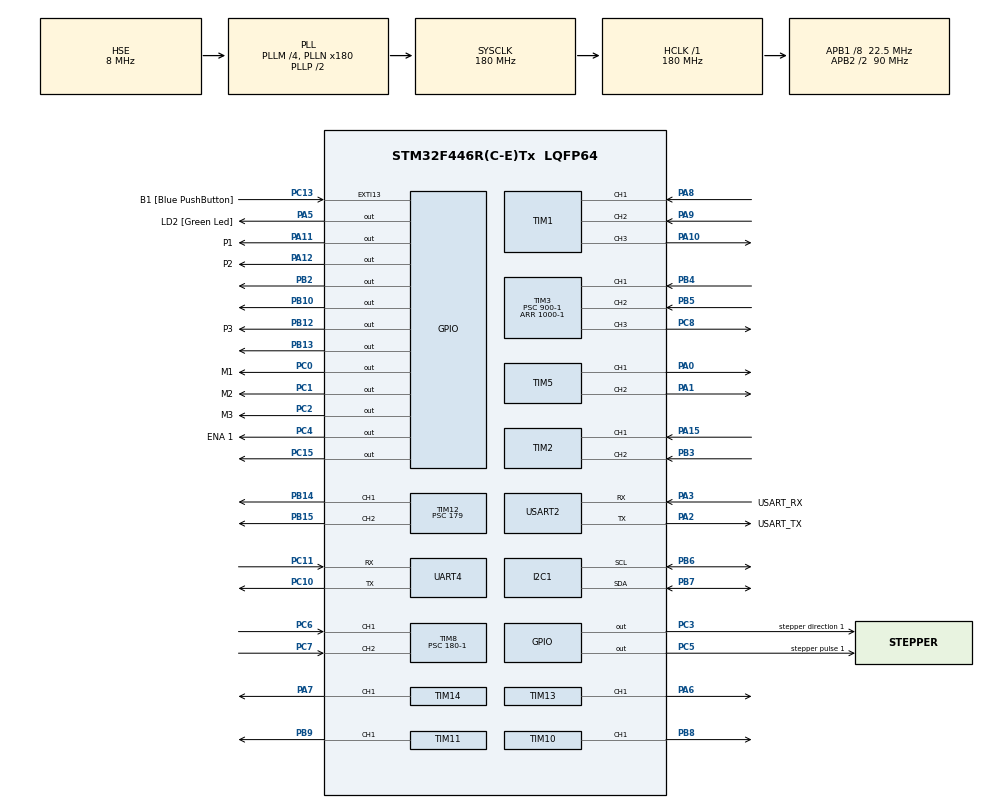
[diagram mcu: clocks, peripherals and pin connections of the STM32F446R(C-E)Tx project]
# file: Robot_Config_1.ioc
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Dma.Request0=UART4_RX
Dma.UART4_RX.0.Direction=DMA_PERIPH_TO_MEMORY
Dma.UART4_RX.0.FIFOMode=DMA_FIFOMODE_DISABLE
Dma.UART4_RX.0.Instance=DMA1_Stream2
Dma.UART4_RX.0.MemDataAlignment=DMA_MDATAALIGN_BYTE
Dma.UART4_RX.0.MemInc=DMA_MINC_ENABLE
Dma.UART4_RX.0.Mode=DMA_CIRCULAR
Dma.UART4_RX.0.PeriphDataAlignment=DMA_PDATAALIGN_BYTE
Dma.UART4_RX.0.PeriphInc=DMA_PINC_DISABLE
Dma.UART4_RX.0.Priority=DMA_PRIORITY_LOW
Mcu.Family=STM32F4
Mcu.Name=STM32F446R(C-E)Tx
Mcu.Package=LQFP64
NVIC.DMA1_Stream2_IRQn=true\:0\:0\:false\:false\:true\:false\:true\:true
NVIC.PriorityGroup=NVIC_PRIORITYGROUP_0
NVIC.UART4_IRQn=true\:0\:0\:false\:false\:true\:true\:true\:true
PA0-WKUP.Signal=S_TIM5_CH1
PA1.Signal=S_TIM5_CH2
PA10.Signal=S_TIM1_CH3
PA11.GPIO_Label=P1
PA11.Signal=GPIO_Output
PA12.GPIO_Label=P2
PA12.Signal=GPIO_Output
PA13.GPIO_Label=TMS
PA13.Mode=Serial_Wire
PA13.Signal=SYS_JTMS-SWDIO
PA14.GPIO_Label=TCK
PA14.Mode=Serial_Wire
PA14.Signal=SYS_JTCK-SWCLK
PA15.GPIO_PuPd=GPIO_PULLUP
PA15.Signal=S_TIM2_CH1_ETR
PA2.GPIO_Label=USART_TX
PA2.Mode=Asynchronous
PA2.Signal=USART2_TX
PA3.GPIO_Label=USART_RX
PA3.Mode=Asynchronous
PA3.Signal=USART2_RX
PA5.GPIO_Label=LD2 [Green Led]
PA5.Signal=GPIO_Output
PA6.Signal=S_TIM13_CH1
PA7.Signal=S_TIM14_CH1
PA8.GPIO_PuPd=GPIO_PULLUP
PA8.Signal=S_TIM1_CH1
PA9.GPIO_PuPd=GPIO_PULLUP
PA9.Signal=S_TIM1_CH2
PB10.Signal=GPIO_Output
PB12.GPIO_Label=P3
PB12.Signal=GPIO_Output
PB13.Signal=GPIO_Output
PB14.Signal=S_TIM12_CH1
PB15.Signal=S_TIM12_CH2
PB2.Signal=GPIO_Output
PB3.GPIO_PuPd=GPIO_PULLUP
PB3.Signal=S_TIM2_CH2
PB4.GPIO_PuPd=GPIO_PULLUP
PB4.Signal=S_TIM3_CH1
PB5.GPIO_PuPd=GPIO_PULLUP
PB5.Signal=S_TIM3_CH2
PB6.Mode=I2C
PB6.Signal=I2C1_SCL
PB7.Mode=I2C
PB7.Signal=I2C1_SDA
PB8.Signal=S_TIM10_CH1
PB9.Signal=S_TIM11_CH1
PC0.GPIO_Label=M1
PC0.Signal=GPIO_Output
PC1.GPIO_Label=M2
PC1.Signal=GPIO_Output
PC10.Mode=Asynchronous
PC10.Signal=UART4_TX
PC11.Mode=Asynchronous
PC11.Signal=UART4_RX
PC13.GPIO_Label=B1 [Blue PushButton]
PC13.GPIO_ModeDefaultEXTI=GPIO_MODE_IT_FALLING
PC13.Signal=GPXTI13
PC14-OSC32_IN.Signal=RCC_OSC32_IN
PC15-OSC32_OUT.Signal=GPIO_Output
PC2.GPIO_Label=M3
PC2.Signal=GPIO_Output
PC3.GPIO_Label=stepper direction 1
PC3.Signal=GPIO_Output
PC4.GPIO_Label=ENA 1
PC4.Signal=GPIO_Output
PC5.GPIO_Label=stepper pulse 1
PC5.Signal=GPIO_Output
PC6.Signal=S_TIM8_CH1
PC7.Signal=S_TIM8_CH2
PC8.Signal=S_TIM3_CH3
PH0-OSC_IN.Mode=HSE-External-Oscillator
PH0-OSC_IN.Signal=RCC_OSC_IN
PH1-OSC_OUT.Mode=HSE-External-Oscillator
PH1-OSC_OUT.Signal=RCC_OSC_OUT
ProjectManager.HeapSize=0x200
ProjectManager.StackSize=0x400
ProjectManager.TargetToolchain=STM32CubeIDE
RCC.48MHZClocksFreq_Value=84000000
RCC.AHBFreq_Value=180000000
RCC.APB1CLKDivider=RCC_HCLK_DIV8
RCC.APB1Freq_Value=22500000
RCC.APB1TimFreq_Value=45000000
RCC.APB2CLKDivider=RCC_HCLK_DIV2
RCC.APB2Freq_Value=90000000
RCC.APB2TimFreq_Value=180000000
RCC.CortexFreq_Value=180000000
RCC.FLatency-AdvancedSettings=FLASH_LATENCY_5
RCC.HCLKFreq_Value=180000000
RCC.HSE_VALUE=8000000
RCC.HSI_VALUE=16000000
RCC.PLLM=4
RCC.PLLN=180
RCC.PLLSourceVirtual=RCC_PLLSOURCE_HSE
RCC.SYSCLKFreq_VALUE=180000000
RCC.SYSCLKSource=RCC_SYSCLKSOURCE_PLLCLK
RCC.USBFreq_Value=180000000
RCC.VCOOutputFreq_Value=360000000
SH.S_TIM10_CH1.0=TIM10_CH1,PWM Generation1 CH1
SH.S_TIM11_CH1.0=TIM11_CH1,PWM Generation1 CH1
SH.S_TIM12_CH1.0=TIM12_CH1,PWM Generation1 CH1
SH.S_TIM12_CH2.0=TIM12_CH2,PWM Generation2 CH2
SH.S_TIM13_CH1.0=TIM13_CH1,PWM Generation1 CH1
SH.S_TIM14_CH1.0=TIM14_CH1,Output Compare1 CH1
SH.S_TIM1_CH1.0=TIM1_CH1,Encoder_Interface
SH.S_TIM1_CH2.0=TIM1_CH2,Encoder_Interface
SH.S_TIM1_CH3.0=TIM1_CH3,PWM Generation3 CH3
SH.S_TIM2_CH1_ETR.0=TIM2_CH1,Encoder_Interface
SH.S_TIM2_CH2.0=TIM2_CH2,Encoder_Interface
SH.S_TIM3_CH1.0=TIM3_CH1,Encoder_Interface
SH.S_TIM3_CH2.0=TIM3_CH2,Encoder_Interface
SH.S_TIM3_CH3.0=TIM3_CH3,PWM Generation3 CH3
SH.S_TIM5_CH1.0=TIM5_CH1,PWM Generation1 CH1
SH.S_TIM5_CH2.0=TIM5_CH2,PWM Generation2 CH2
SH.S_TIM8_CH1.0=TIM8_CH1,Encoder_Interface
SH.S_TIM8_CH2.0=TIM8_CH2,Encoder_Interface
TIM1.Channel-PWM\ Generation3\ CH3=TIM_CHANNEL_3
TIM10.Channel=TIM_CHANNEL_1
TIM10.Period=999
TIM10.Prescaler=179
TIM11.Channel=TIM_CHANNEL_1
TIM11.Period=999
TIM11.Prescaler=179
TIM12.Channel-PWM\ Generation1\ CH1=TIM_CHANNEL_1
TIM12.Channel-PWM\ Generation2\ CH2=TIM_CHANNEL_2
TIM12.Period=999
TIM12.Prescaler=179
TIM13.Channel=TIM_CHANNEL_1
TIM13.Period=999
TIM13.Prescaler=179
TIM14.Channel=TIM_CHANNEL_1
TIM3.Channel-PWM\ Generation3\ CH3=TIM_CHANNEL_3
TIM3.Period=1000-1
TIM3.Prescaler=900-1
TIM5.Channel-PWM\ Generation1\ CH1=TIM_CHANNEL_1
TIM5.Channel-PWM\ Generation2\ CH2=TIM_CHANNEL_2
TIM8.Period=1000-1
TIM8.Prescaler=180-1
UART4.VirtualMode=Asynchronous
USART2.VirtualMode=VM_ASYNC
VP_TIM10_VS_ClockSourceINT.Mode=Enable_Timer
VP_TIM11_VS_ClockSourceINT.Mode=Enable_Timer
VP_TIM12_VS_ClockSourceINT.Mode=Internal
VP_TIM13_VS_ClockSourceINT.Mode=Enable_Timer
VP_TIM14_VS_ClockSourceINT.Mode=Enable_Timer
VP_TIM5_VS_ClockSourceINT.Mode=Internal
board=NUCLEO-F446RE

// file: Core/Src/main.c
/* USER CODE BEGIN Header */
/**
 ******************************************************************************
 * @file           : main.c
 * @brief          : Main program body
 ******************************************************************************
 * @attention
 *
 * Copyright (c) 2025 STMicroelectronics.
 * All rights reserved.
 *
 * This software is licensed under terms that can be found in the LICENSE file
 * in the root directory of this software component.
 * If no LICENSE file comes with this software, it is provided AS-IS.
 *
 ******************************************************************************
 */
/* USER CODE END Header */
#include "main.h"

/* USER CODE BEGIN Includes */
#include "bno055_stm32.h"
#include "BNO055.h"

#include "stdio.h"
#include<stdio.h>
#include<inttypes.h>
#include<Math.h>
#include <stdbool.h>
#include <stdlib.h>
#define WHEEL_RADIUS        63.5f    // meters
#define ENCODER_COUNTS_PER_REV  349.9844447f // Encoder counts per wheel revolution
#define L                   0.314f     // Distance from robot center to wheels (meters)
#define STEPS 240

// Global variables
float x_global = 0.0f;      // Global X position (meters)
float y_global = 0.0f;      // Global Y position (meters)
float theta_prev = 0.0f;    // Previous IMU yaw (radians)
int32_t encoder_prev[3] = { 0 }; // Previous encoder counts for wheels 1, 2, 3

#define pi 3.1415926535
/* USER CODE END Includes */

I2C_HandleTypeDef hi2c1;

TIM_HandleTypeDef htim1;
TIM_HandleTypeDef htim2;
TIM_HandleTypeDef htim3;
TIM_HandleTypeDef htim5;
TIM_HandleTypeDef htim8;
TIM_HandleTypeDef htim10;
TIM_HandleTypeDef htim11;
TIM_HandleTypeDef htim12;
TIM_HandleTypeDef htim13;
TIM_HandleTypeDef htim14;

UART_HandleTypeDef huart4;
UART_HandleTypeDef huart2;
DMA_HandleTypeDef hdma_uart4_rx;

/* USER CODE BEGIN PV */
static uint32_t last_step_time = 0;
static uint32_t last_step_time1 = 0;
static int step_state = 0;
static int step_state1 = 0;
static int direction1 = 1;
int step_delay = 1;
int step_delay1 = 1;
static int stepper_running = 0;  // Toggle flag
static int stepper_running1 = 0;  // Toggle flag
static int ebike_running = 0;  // Toggle flag
static int prev_cir = 0;
static int prev_tri = 0;
static int prev_cro = 0;
static int prev_squ = 0;
static int prev_ll1 = 0;
static int prev_rr1 = 0;
static int prev_ll2 = 0;
static int prev_rr2 = 0;
uint32_t target_steps = 0;
uint32_t current_steps = 0;
uint32_t target_steps1 = 0;
uint32_t current_steps1 = 0;
uint32_t drib_speed = 70;

// Encoder counters
int16_t signed_counter1 = 0;
int32_t signed_counter2 = 0;
int16_t signed_counter3 = 0;

//BNO055_Data_t imu_data, imuData;

float yaw = 0, q0 = 0, q1 = 0, q2 = 0, q3 = 0;

// pneumatics
static int pneumatic_open = 0;

//servo
static int servoDir = 50;
/* USER CODE END PV */

void SystemClock_Config(void);
static void MX_GPIO_Init(void);
static void MX_DMA_Init(void);
static void MX_USART2_UART_Init(void);
static void MX_UART4_Init(void);
static void MX_TIM1_Init(void);
static void MX_TIM8_Init(void);
static void MX_I2C1_Init(void);
static void MX_TIM5_Init(void);
static void MX_TIM10_Init(void);
static void MX_TIM11_Init(void);
static void MX_TIM13_Init(void);
static void MX_TIM2_Init(void);
static void MX_TIM3_Init(void);
static void MX_TIM12_Init(void);
static void MX_TIM14_Init(void);

/* USER CODE BEGIN 0 */

//float sinval = sin(radians(60));
uint8_t rxbuff[16];
int slow = 125;
int fast = 850;
int Buff1 = 50;
int Buff2 = -50;
int BuffP = 50;
int BuffN = -50;
int target_wf, target_wrr, target_wrl, w;
int32_t lx, ly, rx, ry, cro, squ, tri, cir, up, down, left, right, ll1, rr1,
		ll2, rr2, rL, rR;
int deadzone = 50;
int l0 = 310;
//float cos30 = (sqrt(3)/2);
float cos30 = 0.5;

float dist1 = 0.0f;
float dist2 = 0.0f;
float dist3 = 0.0f;
float dist4 = 0.0f;

float last_encoder1 = 0.0f;
float last_encoder2 = 0.0f;
float last_encoder3 = 0.0f;

typedef enum {
	STOP, FORWARD, BACKWARD, RIGHT, LEFT, CLOCKWISE, ANTICLOCKWISE
} MovementState;

// Global position and orientation
volatile float x = 0.0f; // mm
volatile float y = 0.0f; // mm
volatile float theta = 0.0f; // radians

// Encoder state
volatile int32_t prev_encoder5 = 0;
volatile int32_t prev_encoder10 = 0;
volatile int32_t prev_encoder11 = 0;

void HAL_UART_RxCpltCallback(UART_HandleTypeDef *huart) {
	HAL_UART_Receive_DMA(&huart4, rxbuff, 16);
}
long map(long x, long in_min, long in_max, long out_min, long out_max) {

	return (x - in_min) * (out_max - out_min) / (in_max - in_min) + out_min;

}

void update_odometry(int16_t encoder1, int32_t encoder2, int16_t encoder3) {
	// Calculate the change in encoder values
	int16_t delta1 = encoder1 - last_encoder1;
	int32_t delta2 = encoder2 - last_encoder2;
	int16_t delta3 = encoder3 - last_encoder3;

	// Calculate distance per encoder count
	float wheel_circumference = 2 * M_PI * WHEEL_RADIUS;
	float distance_per_count = (1.0 / ENCODER_COUNTS_PER_REV)
			* (wheel_circumference / 1000);

	// Compute average delta for forward/backward encoders (without abs)
	float avgDelta12 = (delta1 + delta2) / 2.0;

	// Check movement direction based on joystick
	if (ly >= Buff1 && (lx <= BuffP && lx >= BuffN)) {
		// Forward motion - use the actual delta (with sign) to track position
		x += distance_per_count * avgDelta12;
	} else if (ly <= Buff2 && (lx <= BuffP && lx >= BuffN)) {
		// Backward motion - use the actual delta (with sign) to track position
		x += distance_per_count * avgDelta12; // Will be negative when going backward
	}

	if (lx >= Buff1 && (ly <= BuffP && ly >= BuffN)) {
		dist3 = distance_per_count * abs(delta3);  // Using delta3 for y-axis
		y += dist3;
	} else if (lx <= Buff2 && (ly <= BuffP && ly >= BuffN)) {
		dist4 = distance_per_count * abs(delta3);
		y -= dist4;
	}

	// Update last encoder values for the next iteration
	last_encoder1 = encoder1;
	last_encoder2 = encoder2;
	last_encoder3 = encoder3;
}

void resetEncoders() {
	__HAL_TIM_SET_COUNTER(&htim1, 0);
	__HAL_TIM_SET_COUNTER(&htim2, 0);
	__HAL_TIM_SET_COUNTER(&htim3, 0);
}

void stopEncoders() {
	HAL_TIM_Encoder_Stop(&htim1, TIM_CHANNEL_ALL);
	HAL_TIM_Encoder_Stop(&htim2, TIM_CHANNEL_ALL);
	HAL_TIM_Encoder_Stop(&htim3, TIM_CHANNEL_ALL);
}

void startEncoders() {
	HAL_TIM_Encoder_Start(&htim1, TIM_CHANNEL_ALL);
	HAL_TIM_Encoder_Start(&htim2, TIM_CHANNEL_ALL);
	HAL_TIM_Encoder_Start(&htim3, TIM_CHANNEL_ALL);
}
/* USER CODE END 0 */

int main(void)
{

  /* MCU Configuration--------------------------------------------------------*/

  /* Reset of all peripherals, Initializes the Flash interface and the Systick. */
  HAL_Init();

  /* Configure the system clock */
  SystemClock_Config();

  /* Initialize all configured peripherals */
  MX_GPIO_Init();
  MX_DMA_Init();
  MX_USART2_UART_Init();
  MX_UART4_Init();
  MX_TIM1_Init();
  MX_TIM8_Init();
  MX_I2C1_Init();
  MX_TIM5_Init();
  MX_TIM10_Init();
  MX_TIM11_Init();
  MX_TIM13_Init();
  MX_TIM2_Init();
  MX_TIM3_Init();
  MX_TIM12_Init();
  MX_TIM14_Init();
  /* USER CODE BEGIN 2 */
	HAL_UART_Receive_DMA(&huart4, rxbuff, 16);
	HAL_TIM_Encoder_Start(&htim1, TIM_CHANNEL_ALL);
	HAL_TIM_Encoder_Start(&htim2, TIM_CHANNEL_ALL);
	HAL_TIM_Encoder_Start(&htim3, TIM_CHANNEL_ALL);
	bno055_assignI2C(&hi2c1);
	bno055_setup();
	bno055_setOperationModeNDOF();
	HAL_TIM_PWM_Start(&htim3, TIM_CHANNEL_3);
  /* USER CODE END 2 */

  /* Infinite loop */
	while (1) {

    /* USER CODE BEGIN 3 */
		/* ps5 controller */
		lx = (rxbuff[0] & 0x80) ?
				(int32_t) rxbuff[0] - 256 : (int32_t) rxbuff[0];
		ly = (rxbuff[1] & 0x80) ?
				(int32_t) rxbuff[1] - 256 : (int32_t) rxbuff[1];
		rx = (rxbuff[2] & 0x80) ?
				(int32_t) rxbuff[2] - 256 : (int32_t) rxbuff[2];
		ry = (rxbuff[3] & 0x80) ?
				(int32_t) rxbuff[3] - 256 : (int32_t) rxbuff[3];
		cro = (rxbuff[4] & 0x80) ?
				(int32_t) rxbuff[4] - 256 : (int32_t) rxbuff[4];
		squ = (rxbuff[5] & 0x80) ?
				(int32_t) rxbuff[5] - 256 : (int32_t) rxbuff[5];
		tri = (rxbuff[6] & 0x80) ?
				(int32_t) rxbuff[6] - 256 : (int32_t) rxbuff[6];
		cir = (rxbuff[7] & 0x80) ?
				(int32_t) rxbuff[7] - 256 : (int32_t) rxbuff[7];
		up = (rxbuff[8] & 0x80) ?
				(int32_t) rxbuff[8] - 256 : (int32_t) rxbuff[8];
		down = (rxbuff[9] & 0x80) ?
				(int32_t) rxbuff[9] - 256 : (int32_t) rxbuff[9];
		left = (rxbuff[10] & 0x80) ?
				(int32_t) rxbuff[10] - 256 : (int32_t) rxbuff[10];
		right = (rxbuff[11] & 0x80) ?
				(int32_t) rxbuff[11] - 256 : (int32_t) rxbuff[11];
		ll1 = (rxbuff[12] & 0x80) ?
				(int32_t) rxbuff[12] - 256 : (int32_t) rxbuff[12];
		ll2 = (rxbuff[13] & 0x80) ?
				(int32_t) rxbuff[13] - 256 : (int32_t) rxbuff[13];
		rr1 = (rxbuff[14] & 0x80) ?
				(int32_t) rxbuff[14] - 256 : (int32_t) rxbuff[14];
		rr2 = (rxbuff[15] & 0x80) ?
				(int32_t) rxbuff[15] - 256 : (int32_t) rxbuff[15];

		//		printf("Received Integers: %ld %ld %ld %ld %ld %ld %ld %ld %ld %ld\r\n",
		//				lx, ly, rx, ry, cro, squ, tri, cir, ll1, rr1);
		printf("Received Integers: %ld %ld %ld %ld %ld %ld %ld %ld %d %d %d %d\r\n",
				lx, ly, rx, ry, cro, squ, tri, cir, left, right, pneumatic_open, drib_speed);

		/* 3 encoders */
		uint16_t raw_counter1 = __HAL_TIM_GET_COUNTER(&htim1);
		uint32_t raw_counter2 = __HAL_TIM_GET_COUNTER(&htim2);
		uint16_t raw_counter3 = __HAL_TIM_GET_COUNTER(&htim3);

		// Convert to signed values
		signed_counter1 =
				(raw_counter1 < 32768) ?
						(int16_t) raw_counter1 :
						(int16_t) (raw_counter1 - 65536);
		signed_counter2 =
				(raw_counter2 < 2147483648) ?
						(int32_t) raw_counter2 :
						(int32_t) (raw_counter2 - 4294967296);
		signed_counter3 =
				(raw_counter3 < 32768) ?
						(int16_t) raw_counter3 :
						(int16_t) (raw_counter3 - 65536);

		/* IMU */
//		bno055_vector_t v = bno055_getVectorEuler();
//		//		printf("Heading: %.2f Roll: %.2f Pitch: %.2f\r\n", v.x, v.y, v.z);
//		v = bno055_getVectorQuaternion();
//		//		printf("W: %.2f X: %.2f Y: %.2f Z: %.2f\r\n", v.w, v.x, v.y, v.z);
//		yaw = -(atan2(2.0 * (v.w * v.z + v.x * v.y),
//				1.0 - 2.0 * (v.y * v.y + v.z * v.z))) * (180.0 / pi);
////				printf("Yaw: %.2f\r\n", yaw);
//		printf("Encoder position: %d %d %d X: %.2f Y: %.2f\r\n",
//				signed_counter1, signed_counter2, signed_counter3, x, y);
		/* 3 wheel */
		uint16_t dutycycle;

		dutycycle = 0;
		MovementState current_state = STOP;
		/* chassis */
		//motors stop
		if (ly >= Buff2 && ly <= Buff1 && lx >= Buff2 && lx <= Buff1
				&& rx >= Buff2 && rx <= Buff1) {

			dutycycle = 0;

			TIM12->CCR1 = dutycycle;
			TIM10->CCR1 = dutycycle;
			TIM11->CCR1 = dutycycle;
			HAL_TIM_PWM_Start(&htim12, TIM_CHANNEL_1);
			HAL_TIM_PWM_Start(&htim10, TIM_CHANNEL_1);
			HAL_TIM_PWM_Start(&htim11, TIM_CHANNEL_1);

		}

		//	  	//forward

		else if (ly >= Buff1 && (lx <= BuffP && lx >= BuffN))

		{

			dutycycle = map(ly, Buff1, 127, 0, fast);

			TIM10->CCR1 = dutycycle;
			TIM11->CCR1 = dutycycle;
			HAL_TIM_PWM_Start(&htim10, TIM_CHANNEL_1);
			HAL_TIM_PWM_Start(&htim11, TIM_CHANNEL_1);

//			HAL_GPIO_WritePin(GPIOC, GPIO_PIN_0, GPIO_PIN_RESET);

			HAL_GPIO_WritePin(GPIOC, GPIO_PIN_1, GPIO_PIN_RESET);

			HAL_GPIO_WritePin(GPIOC, GPIO_PIN_2, GPIO_PIN_SET);
			current_state = FORWARD;
//			HAL_GPIO_WritePin(GPIOC, GPIO_PIN_3, GPIO_PIN_RESET);

			//	   	HAL_Delay(1000);

		}

		// backward

		else if (ly <= Buff2 && (lx <= BuffP && lx >= BuffN))

		{

			dutycycle = map(ly, -128, Buff2, fast, 0);

			TIM10->CCR1 = dutycycle;
			TIM11->CCR1 = dutycycle;
			HAL_TIM_PWM_Start(&htim10, TIM_CHANNEL_1);
			HAL_TIM_PWM_Start(&htim11, TIM_CHANNEL_1);

//			HAL_GPIO_WritePin(GPIOC, GPIO_PIN_0, GPIO_PIN_RESET);

			HAL_GPIO_WritePin(GPIOC, GPIO_PIN_1, GPIO_PIN_SET);

			HAL_GPIO_WritePin(GPIOC, GPIO_PIN_2, GPIO_PIN_RESET);

//			HAL_GPIO_WritePin(GPIOC, GPIO_PIN_3, GPIO_PIN_SET);
			current_state = BACKWARD;
			//	    HAL_Delay(1000);

		}

		//	right

		else if (lx >= Buff1 && (ly <= BuffP && ly >= BuffN))

		{

			dutycycle = map(lx, Buff1, 127, 0, fast);

			TIM12->CCR1 = dutycycle;
			TIM10->CCR1 = cos30 * dutycycle;
			TIM11->CCR1 = cos30 * dutycycle;
			HAL_TIM_PWM_Start(&htim12, TIM_CHANNEL_1);
			HAL_TIM_PWM_Start(&htim10, TIM_CHANNEL_1);
			HAL_TIM_PWM_Start(&htim11, TIM_CHANNEL_1);

			HAL_GPIO_WritePin(GPIOC, GPIO_PIN_0, GPIO_PIN_SET);

			HAL_GPIO_WritePin(GPIOC, GPIO_PIN_1, GPIO_PIN_RESET);

			HAL_GPIO_WritePin(GPIOC, GPIO_PIN_2, GPIO_PIN_RESET);

//			HAL_GPIO_WritePin(GPIOC, GPIO_PIN_3, GPIO_PIN_SET);
			current_state = RIGHT;
			//	    HAL_Delay(1000);

		}

		// left

		else if (lx <= Buff2 && (ly <= BuffP && ly >= BuffN))

		{

			dutycycle = map(lx, -128, Buff2, fast, 0);

			TIM12->CCR1 = dutycycle;
			TIM10->CCR1 = cos30 * dutycycle;
			TIM11->CCR1 = cos30 * dutycycle;
			HAL_TIM_PWM_Start(&htim12, TIM_CHANNEL_1);
			HAL_TIM_PWM_Start(&htim10, TIM_CHANNEL_1);
			HAL_TIM_PWM_Start(&htim11, TIM_CHANNEL_1);

			HAL_GPIO_WritePin(GPIOC, GPIO_PIN_0, GPIO_PIN_RESET);

			HAL_GPIO_WritePin(GPIOC, GPIO_PIN_1, GPIO_PIN_SET);

			HAL_GPIO_WritePin(GPIOC, GPIO_PIN_2, GPIO_PIN_SET);
			current_state = LEFT;
//			HAL_GPIO_WritePin(GPIOC, GPIO_PIN_3, GPIO_PIN_RESET);

		}

		//clockwise

		else if (rx >= Buff1 && (ry <= BuffP && ry >= BuffN)) {

			dutycycle = map(rx, Buff1, 127, 0, 100);

			TIM12->CCR1 = dutycycle;
			TIM10->CCR1 = dutycycle;
			TIM11->CCR1 = dutycycle;
			HAL_TIM_PWM_Start(&htim12, TIM_CHANNEL_1);
			HAL_TIM_PWM_Start(&htim10, TIM_CHANNEL_1);
			HAL_TIM_PWM_Start(&htim11, TIM_CHANNEL_1);

			HAL_GPIO_WritePin(GPIOC, GPIO_PIN_0, GPIO_PIN_RESET);

			HAL_GPIO_WritePin(GPIOC, GPIO_PIN_1, GPIO_PIN_RESET);

			HAL_GPIO_WritePin(GPIOC, GPIO_PIN_2, GPIO_PIN_RESET);
			current_state = CLOCKWISE;
//			HAL_GPIO_WritePin(GPIOC, GPIO_PIN_3, GPIO_PIN_SET);

		}

		// anticlockwise

		else if (rx <= Buff2 && (ry <= BuffP && ry >= BuffN)) {

			dutycycle = map(rx, -128, Buff2, 100, 0);

			TIM12->CCR1 = dutycycle;
			TIM10->CCR1 = dutycycle;
			TIM11->CCR1 = dutycycle;
			HAL_TIM_PWM_Start(&htim12, TIM_CHANNEL_1);
			HAL_TIM_PWM_Start(&htim10, TIM_CHANNEL_1);
			HAL_TIM_PWM_Start(&htim11, TIM_CHANNEL_1);

			HAL_GPIO_WritePin(GPIOC, GPIO_PIN_0, GPIO_PIN_SET);

			HAL_GPIO_WritePin(GPIOC, GPIO_PIN_1, GPIO_PIN_SET);

			HAL_GPIO_WritePin(GPIOC, GPIO_PIN_2, GPIO_PIN_SET);
			current_state = ANTICLOCKWISE;

//			HAL_GPIO_WritePin(GPIOC, GPIO_PIN_3, GPIO_PIN_RESET);

		}

		if (current_state == CLOCKWISE || current_state == ANTICLOCKWISE) {
			stopEncoders();
		} else {
			startEncoders();
		}

		update_odometry(signed_counter1, signed_counter2, signed_counter3);

		/* Stepper */
//		stepper_running1 = 1;
		HAL_GPIO_WritePin(GPIOC, GPIO_PIN_3,
				direction1 ? GPIO_PIN_SET : GPIO_PIN_RESET);
		HAL_GPIO_WritePin(GPIOC, GPIO_PIN_6,
				!direction1 ? GPIO_PIN_SET : GPIO_PIN_RESET);

		if (ll1 == 1 && !prev_ll1) {  // LL1 button pressed
			direction1 = 1;  // Set to Anti-clockwise
			stepper_running = 1;
			stepper_running1 = 1;
			target_steps = STEPS;
			target_steps1 = STEPS;
			HAL_GPIO_WritePin(GPIOC, GPIO_PIN_7, GPIO_PIN_RESET);
		}
		if (rr1 == 1 && !prev_rr1) {  // RR1 button pressed
			direction1 = 0;  // Set to Clockwise
			stepper_running = 1;
			stepper_running1 = 1;
			target_steps = STEPS;
			target_steps1 = STEPS;
			HAL_GPIO_WritePin(GPIOC, GPIO_PIN_7, GPIO_PIN_RESET);
		}
		if (cir == 1 && !prev_cir) {
			stepper_running1 = 0;
			current_steps = 0;
			current_steps1 = 0;
			HAL_GPIO_WritePin(GPIOC, GPIO_PIN_7, GPIO_PIN_SET);
		}
		prev_ll1 = ll1;
		prev_rr1 = rr1;
		prev_cir = cir;
		if (stepper_running && (HAL_GetTick() - last_step_time) >= step_delay
				&& current_steps < target_steps) {
			last_step_time = HAL_GetTick(); // Update last step time

			if (step_state == 0) {
				HAL_GPIO_WritePin(GPIOC, GPIO_PIN_5, GPIO_PIN_SET); // Step HIGH
				step_state = 1;
				current_steps++;
			} else {
				HAL_GPIO_WritePin(GPIOC, GPIO_PIN_5, GPIO_PIN_RESET); // Step LOW
				step_state = 0;
			}
		}
		if (stepper_running1 && (HAL_GetTick() - last_step_time1) >= step_delay1
				&& current_steps1 < target_steps1) {
			last_step_time1 = HAL_GetTick(); // Update last step time

			if (step_state1 == 0) {
				HAL_GPIO_WritePin(GPIOB, GPIO_PIN_15, GPIO_PIN_SET); // Step HIGH
				step_state1 = 1;
				current_steps1++;
			} else {
				HAL_GPIO_WritePin(GPIOB, GPIO_PIN_15, GPIO_PIN_RESET); // Step LOW
				step_state1 = 0;
			}
		}
		// Stop when target steps are reached
		if (current_steps >= target_steps) {
			stepper_running = 0;
			current_steps = 0;
			HAL_GPIO_WritePin(GPIOC, GPIO_PIN_7, GPIO_PIN_SET);
		}
		if (current_steps1 >= target_steps1) {
			stepper_running1 = 0;
			current_steps1 = 0;
			HAL_GPIO_WritePin(GPIOC, GPIO_PIN_7, GPIO_PIN_SET);
		}

		/* IMU */

		/* Dribbling */
		if (tri == 1 && !prev_tri) {
			ebike_running = 1;
		}
		if (cro == 1 && !prev_cro) {  // cro button pressed
			printf("cross pressed");
//			direction1 = 0;  // Set to Clockwise
			ebike_running = 0;
		}
		if (ll2 == 1 && !prev_ll2) {
			drib_speed = drib_speed + 2; //62 speed for passing 50 for dribbling
		}
		prev_ll2 = ll2;
		if (rr2 == 1 && !prev_rr2) {
			drib_speed = drib_speed - 2;
		}
		prev_rr2 = rr2;
		prev_tri = tri;
		prev_cro = cro;
		if (ebike_running) {
			HAL_GPIO_WritePin(GPIOC, GPIO_PIN_15, 1);
			TIM13->CCR1 = (drib_speed * 999) / 100;  //rpm 2000 test
			HAL_TIM_PWM_Start(&htim13, TIM_CHANNEL_1);
		} else {
			//			HAL_GPIO_WritePin(GPIOC, GPIO_PIN_15, 1);
			TIM13->CCR1 = (0 * 999) / 100;
			HAL_TIM_PWM_Start(&htim13, TIM_CHANNEL_1);
		}

		// pneumatics
		if (squ == 1) {
			pneumatic_open = 1;
		} else {
			pneumatic_open = 0;
		}
//		prev_squ = squ;
		if (pneumatic_open) {
			HAL_GPIO_WritePin(GPIOA, GPIO_PIN_12, 1);
		} else {
			HAL_GPIO_WritePin(GPIOA, GPIO_PIN_12, 0);
		}

		// servo motor
		if (left == 1)

		{

			htim3.Instance->CCR3 = 50; // duty cycle is 1 ms (0 degrees)

		} else if (right == 1) {

			htim3.Instance->CCR3 = 125; // duty cycle is 2 ms (180 degrees)

		}

	}
  /* USER CODE END 3 */
}

void SystemClock_Config(void)
{
  RCC_OscInitTypeDef RCC_OscInitStruct = {0};
  RCC_ClkInitTypeDef RCC_ClkInitStruct = {0};

  /** Configure the main internal regulator output voltage
  */
  __HAL_RCC_PWR_CLK_ENABLE();
  __HAL_PWR_VOLTAGESCALING_CONFIG(PWR_REGULATOR_VOLTAGE_SCALE1);

  /** Initializes the RCC Oscillators according to the specified parameters
  * in the RCC_OscInitTypeDef structure.
  */
  RCC_OscInitStruct.OscillatorType = RCC_OSCILLATORTYPE_HSE;
  RCC_OscInitStruct.HSEState = RCC_HSE_ON;
  RCC_OscInitStruct.PLL.PLLState = RCC_PLL_ON;
  RCC_OscInitStruct.PLL.PLLSource = RCC_PLLSOURCE_HSE;
  RCC_OscInitStruct.PLL.PLLM = 4;
  RCC_OscInitStruct.PLL.PLLN = 180;
  RCC_OscInitStruct.PLL.PLLP = RCC_PLLP_DIV2;
  RCC_OscInitStruct.PLL.PLLQ = 2;
  RCC_OscInitStruct.PLL.PLLR = 2;
  if (HAL_RCC_OscConfig(&RCC_OscInitStruct) != HAL_OK)
  {
    Error_Handler();
  }

  /** Activate the Over-Drive mode
  */
  if (HAL_PWREx_EnableOverDrive() != HAL_OK)
  {
    Error_Handler();
  }

  /** Initializes the CPU, AHB and APB buses clocks
  */
  RCC_ClkInitStruct.ClockType = RCC_CLOCKTYPE_HCLK|RCC_CLOCKTYPE_SYSCLK
                              |RCC_CLOCKTYPE_PCLK1|RCC_CLOCKTYPE_PCLK2;
  RCC_ClkInitStruct.SYSCLKSource = RCC_SYSCLKSOURCE_PLLCLK;
  RCC_ClkInitStruct.AHBCLKDivider = RCC_SYSCLK_DIV1;
  RCC_ClkInitStruct.APB1CLKDivider = RCC_HCLK_DIV8;
  RCC_ClkInitStruct.APB2CLKDivider = RCC_HCLK_DIV2;

  if (HAL_RCC_ClockConfig(&RCC_ClkInitStruct, FLASH_LATENCY_5) != HAL_OK)
  {
    Error_Handler();
  }
}

static void MX_I2C1_Init(void)
{

  hi2c1.Instance = I2C1;
  hi2c1.Init.ClockSpeed = 100000;
  hi2c1.Init.DutyCycle = I2C_DUTYCYCLE_2;
  hi2c1.Init.OwnAddress1 = 0;
  hi2c1.Init.AddressingMode = I2C_ADDRESSINGMODE_7BIT;
  hi2c1.Init.DualAddressMode = I2C_DUALADDRESS_DISABLE;
  hi2c1.Init.OwnAddress2 = 0;
  hi2c1.Init.GeneralCallMode = I2C_GENERALCALL_DISABLE;
  hi2c1.Init.NoStretchMode = I2C_NOSTRETCH_DISABLE;
  if (HAL_I2C_Init(&hi2c1) != HAL_OK)
  {
    Error_Handler();
  }

}

static void MX_TIM1_Init(void)
{

  TIM_Encoder_InitTypeDef sConfig = {0};
  TIM_MasterConfigTypeDef sMasterConfig = {0};
  TIM_OC_InitTypeDef sConfigOC = {0};
  TIM_BreakDeadTimeConfigTypeDef sBreakDeadTimeConfig = {0};

  htim1.Instance = TIM1;
  htim1.Init.Prescaler = 0;
  htim1.Init.CounterMode = TIM_COUNTERMODE_UP;
  htim1.Init.Period = 65535;
  htim1.Init.ClockDivision = TIM_CLOCKDIVISION_DIV1;
  htim1.Init.RepetitionCounter = 0;
  htim1.Init.AutoReloadPreload = TIM_AUTORELOAD_PRELOAD_DISABLE;
  if (HAL_TIM_PWM_Init(&htim1) != HAL_OK)
  {
    Error_Handler();
  }
  sConfig.EncoderMode = TIM_ENCODERMODE_TI1;
  sConfig.IC1Polarity = TIM_ICPOLARITY_RISING;
  sConfig.IC1Selection = TIM_ICSELECTION_DIRECTTI;
  sConfig.IC1Prescaler = TIM_ICPSC_DIV1;
  sConfig.IC1Filter = 0;
  sConfig.IC2Polarity = TIM_ICPOLARITY_RISING;
  sConfig.IC2Selection = TIM_ICSELECTION_DIRECTTI;
  sConfig.IC2Prescaler = TIM_ICPSC_DIV1;
  sConfig.IC2Filter = 0;
  if (HAL_TIM_Encoder_Init(&htim1, &sConfig) != HAL_OK)
  {
    Error_Handler();
  }
  sMasterConfig.MasterOutputTrigger = TIM_TRGO_RESET;
  sMasterConfig.MasterSlaveMode = TIM_MASTERSLAVEMODE_DISABLE;
  if (HAL_TIMEx_MasterConfigSynchronization(&htim1, &sMasterConfig) != HAL_OK)
  {
    Error_Handler();
  }
  sConfigOC.OCMode = TIM_OCMODE_PWM1;
  sConfigOC.Pulse = 0;
  sConfigOC.OCPolarity = TIM_OCPOLARITY_HIGH;
  sConfigOC.OCNPolarity = TIM_OCNPOLARITY_HIGH;
  sConfigOC.OCFastMode = TIM_OCFAST_DISABLE;
  sConfigOC.OCIdleState = TIM_OCIDLESTATE_RESET;
  sConfigOC.OCNIdleState = TIM_OCNIDLESTATE_RESET;
  if (HAL_TIM_PWM_ConfigChannel(&htim1, &sConfigOC, TIM_CHANNEL_3) != HAL_OK)
  {
    Error_Handler();
  }
  sBreakDeadTimeConfig.OffStateRunMode = TIM_OSSR_DISABLE;
  sBreakDeadTimeConfig.OffStateIDLEMode = TIM_OSSI_DISABLE;
  sBreakDeadTimeConfig.LockLevel = TIM_LOCKLEVEL_OFF;
  sBreakDeadTimeConfig.DeadTime = 0;
  sBreakDeadTimeConfig.BreakState = TIM_BREAK_DISABLE;
  sBreakDeadTimeConfig.BreakPolarity = TIM_BREAKPOLARITY_HIGH;
  sBreakDeadTimeConfig.AutomaticOutput = TIM_AUTOMATICOUTPUT_DISABLE;
  if (HAL_TIMEx_ConfigBreakDeadTime(&htim1, &sBreakDeadTimeConfig) != HAL_OK)
  {
    Error_Handler();
  }
  HAL_TIM_MspPostInit(&htim1);

}

static void MX_TIM2_Init(void)
{

  TIM_Encoder_InitTypeDef sConfig = {0};
  TIM_MasterConfigTypeDef sMasterConfig = {0};

  htim2.Instance = TIM2;
  htim2.Init.Prescaler = 0;
  htim2.Init.CounterMode = TIM_COUNTERMODE_UP;
  htim2.Init.Period = 4294967295;
  htim2.Init.ClockDivision = TIM_CLOCKDIVISION_DIV1;
  htim2.Init.AutoReloadPreload = TIM_AUTORELOAD_PRELOAD_DISABLE;
  sConfig.EncoderMode = TIM_ENCODERMODE_TI1;
  sConfig.IC1Polarity = TIM_ICPOLARITY_RISING;
  sConfig.IC1Selection = TIM_ICSELECTION_DIRECTTI;
  sConfig.IC1Prescaler = TIM_ICPSC_DIV1;
  sConfig.IC1Filter = 0;
  sConfig.IC2Polarity = TIM_ICPOLARITY_RISING;
  sConfig.IC2Selection = TIM_ICSELECTION_DIRECTTI;
  sConfig.IC2Prescaler = TIM_ICPSC_DIV1;
  sConfig.IC2Filter = 0;
  if (HAL_TIM_Encoder_Init(&htim2, &sConfig) != HAL_OK)
  {
    Error_Handler();
  }
  sMasterConfig.MasterOutputTrigger = TIM_TRGO_RESET;
  sMasterConfig.MasterSlaveMode = TIM_MASTERSLAVEMODE_DISABLE;
  if (HAL_TIMEx_MasterConfigSynchronization(&htim2, &sMasterConfig) != HAL_OK)
  {
    Error_Handler();
  }

}

static void MX_TIM3_Init(void)
{

  TIM_Encoder_InitTypeDef sConfig = {0};
  TIM_MasterConfigTypeDef sMasterConfig = {0};
  TIM_OC_InitTypeDef sConfigOC = {0};

  htim3.Instance = TIM3;
  htim3.Init.Prescaler = 900-1;
  htim3.Init.CounterMode = TIM_COUNTERMODE_UP;
  htim3.Init.Period = 1000-1;
  htim3.Init.ClockDivision = TIM_CLOCKDIVISION_DIV1;
  htim3.Init.AutoReloadPreload = TIM_AUTORELOAD_PRELOAD_DISABLE;
  if (HAL_TIM_PWM_Init(&htim3) != HAL_OK)
  {
    Error_Handler();
  }
  sConfig.EncoderMode = TIM_ENCODERMODE_TI1;
  sConfig.IC1Polarity = TIM_ICPOLARITY_RISING;
  sConfig.IC1Selection = TIM_ICSELECTION_DIRECTTI;
  sConfig.IC1Prescaler = TIM_ICPSC_DIV1;
  sConfig.IC1Filter = 0;
  sConfig.IC2Polarity = TIM_ICPOLARITY_RISING;
  sConfig.IC2Selection = TIM_ICSELECTION_DIRECTTI;
  sConfig.IC2Prescaler = TIM_ICPSC_DIV1;
  sConfig.IC2Filter = 0;
  if (HAL_TIM_Encoder_Init(&htim3, &sConfig) != HAL_OK)
  {
    Error_Handler();
  }
  sMasterConfig.MasterOutputTrigger = TIM_TRGO_RESET;
  sMasterConfig.MasterSlaveMode = TIM_MASTERSLAVEMODE_DISABLE;
  if (HAL_TIMEx_MasterConfigSynchronization(&htim3, &sMasterConfig) != HAL_OK)
  {
    Error_Handler();
  }
  sConfigOC.OCMode = TIM_OCMODE_PWM1;
  sConfigOC.Pulse = 0;
  sConfigOC.OCPolarity = TIM_OCPOLARITY_HIGH;
  sConfigOC.OCFastMode = TIM_OCFAST_DISABLE;
  if (HAL_TIM_PWM_ConfigChannel(&htim3, &sConfigOC, TIM_CHANNEL_3) != HAL_OK)
  {
    Error_Handler();
  }
  HAL_TIM_MspPostInit(&htim3);

}

static void MX_TIM5_Init(void)
{

  TIM_ClockConfigTypeDef sClockSourceConfig = {0};
  TIM_MasterConfigTypeDef sMasterConfig = {0};
  TIM_OC_InitTypeDef sConfigOC = {0};

  htim5.Instance = TIM5;
  htim5.Init.Prescaler = 0;
  htim5.Init.CounterMode = TIM_COUNTERMODE_UP;
  htim5.Init.Period = 4294967295;
  htim5.Init.ClockDivision = TIM_CLOCKDIVISION_DIV1;
  htim5.Init.AutoReloadPreload = TIM_AUTORELOAD_PRELOAD_DISABLE;
  if (HAL_TIM_Base_Init(&htim5) != HAL_OK)
  {
    Error_Handler();
  }
  sClockSourceConfig.ClockSource = TIM_CLOCKSOURCE_INTERNAL;
  if (HAL_TIM_ConfigClockSource(&htim5, &sClockSourceConfig) != HAL_OK)
  {
    Error_Handler();
  }
  if (HAL_TIM_PWM_Init(&htim5) != HAL_OK)
  {
    Error_Handler();
  }
  sMasterConfig.MasterOutputTrigger = TIM_TRGO_RESET;
  sMasterConfig.MasterSlaveMode = TIM_MASTERSLAVEMODE_DISABLE;
  if (HAL_TIMEx_MasterConfigSynchronization(&htim5, &sMasterConfig) != HAL_OK)
  {
    Error_Handler();
  }
  sConfigOC.OCMode = TIM_OCMODE_PWM1;
  sConfigOC.Pulse = 0;
  sConfigOC.OCPolarity = TIM_OCPOLARITY_HIGH;
  sConfigOC.OCFastMode = TIM_OCFAST_DISABLE;
  if (HAL_TIM_PWM_ConfigChannel(&htim5, &sConfigOC, TIM_CHANNEL_1) != HAL_OK)
  {
    Error_Handler();
  }
  if (HAL_TIM_PWM_ConfigChannel(&htim5, &sConfigOC, TIM_CHANNEL_2) != HAL_OK)
  {
    Error_Handler();
  }
  HAL_TIM_MspPostInit(&htim5);

}

static void MX_TIM8_Init(void)
{

  TIM_Encoder_InitTypeDef sConfig = {0};
  TIM_MasterConfigTypeDef sMasterConfig = {0};

  htim8.Instance = TIM8;
  htim8.Init.Prescaler = 180-1;
  htim8.Init.CounterMode = TIM_COUNTERMODE_UP;
  htim8.Init.Period = 1000-1;
  htim8.Init.ClockDivision = TIM_CLOCKDIVISION_DIV1;
  htim8.Init.RepetitionCounter = 0;
  htim8.Init.AutoReloadPreload = TIM_AUTORELOAD_PRELOAD_DISABLE;
  sConfig.EncoderMode = TIM_ENCODERMODE_TI1;
  sConfig.IC1Polarity = TIM_ICPOLARITY_RISING;
  sConfig.IC1Selection = TIM_ICSELECTION_DIRECTTI;
  sConfig.IC1Prescaler = TIM_ICPSC_DIV1;
  sConfig.IC1Filter = 0;
  sConfig.IC2Polarity = TIM_ICPOLARITY_RISING;
  sConfig.IC2Selection = TIM_ICSELECTION_DIRECTTI;
  sConfig.IC2Prescaler = TIM_ICPSC_DIV1;
  sConfig.IC2Filter = 0;
  if (HAL_TIM_Encoder_Init(&htim8, &sConfig) != HAL_OK)
  {
    Error_Handler();
  }
  sMasterConfig.MasterOutputTrigger = TIM_TRGO_RESET;
  sMasterConfig.MasterSlaveMode = TIM_MASTERSLAVEMODE_DISABLE;
  if (HAL_TIMEx_MasterConfigSynchronization(&htim8, &sMasterConfig) != HAL_OK)
  {
    Error_Handler();
  }

}

static void MX_TIM10_Init(void)
{

  TIM_OC_InitTypeDef sConfigOC = {0};

  htim10.Instance = TIM10;
  htim10.Init.Prescaler = 179;
  htim10.Init.CounterMode = TIM_COUNTERMODE_UP;
  htim10.Init.Period = 999;
  htim10.Init.ClockDivision = TIM_CLOCKDIVISION_DIV1;
  htim10.Init.AutoReloadPreload = TIM_AUTORELOAD_PRELOAD_DISABLE;
  if (HAL_TIM_Base_Init(&htim10) != HAL_OK)
  {
    Error_Handler();
  }
  if (HAL_TIM_PWM_Init(&htim10) != HAL_OK)
  {
    Error_Handler();
  }
  sConfigOC.OCMode = TIM_OCMODE_PWM1;
  sConfigOC.Pulse = 0;
  sConfigOC.OCPolarity = TIM_OCPOLARITY_HIGH;
  sConfigOC.OCFastMode = TIM_OCFAST_DISABLE;
  if (HAL_TIM_PWM_ConfigChannel(&htim10, &sConfigOC, TIM_CHANNEL_1) != HAL_OK)
  {
    Error_Handler();
  }
  HAL_TIM_MspPostInit(&htim10);

}

static void MX_TIM11_Init(void)
{

  TIM_OC_InitTypeDef sConfigOC = {0};

  htim11.Instance = TIM11;
  htim11.Init.Prescaler = 179;
  htim11.Init.CounterMode = TIM_COUNTERMODE_UP;
  htim11.Init.Period = 999;
  htim11.Init.ClockDivision = TIM_CLOCKDIVISION_DIV1;
  htim11.Init.AutoReloadPreload = TIM_AUTORELOAD_PRELOAD_DISABLE;
  if (HAL_TIM_Base_Init(&htim11) != HAL_OK)
  {
    Error_Handler();
  }
  if (HAL_TIM_PWM_Init(&htim11) != HAL_OK)
  {
    Error_Handler();
  }
  sConfigOC.OCMode = TIM_OCMODE_PWM1;
  sConfigOC.Pulse = 0;
  sConfigOC.OCPolarity = TIM_OCPOLARITY_HIGH;
  sConfigOC.OCFastMode = TIM_OCFAST_DISABLE;
  if (HAL_TIM_PWM_ConfigChannel(&htim11, &sConfigOC, TIM_CHANNEL_1) != HAL_OK)
  {
    Error_Handler();
  }
  HAL_TIM_MspPostInit(&htim11);

}

static void MX_TIM12_Init(void)
{

  TIM_ClockConfigTypeDef sClockSourceConfig = {0};
  TIM_OC_InitTypeDef sConfigOC = {0};

  htim12.Instance = TIM12;
  htim12.Init.Prescaler = 179;
  htim12.Init.CounterMode = TIM_COUNTERMODE_UP;
  htim12.Init.Period = 999;
  htim12.Init.ClockDivision = TIM_CLOCKDIVISION_DIV1;
  htim12.Init.AutoReloadPreload = TIM_AUTORELOAD_PRELOAD_DISABLE;
  if (HAL_TIM_Base_Init(&htim12) != HAL_OK)
  {
    Error_Handler();
  }
  sClockSourceConfig.ClockSource = TIM_CLOCKSOURCE_INTERNAL;
  if (HAL_TIM_ConfigClockSource(&htim12, &sClockSourceConfig) != HAL_OK)
  {
    Error_Handler();
  }
  if (HAL_TIM_PWM_Init(&htim12) != HAL_OK)
  {
    Error_Handler();
  }
  sConfigOC.OCMode = TIM_OCMODE_PWM1;
  sConfigOC.Pulse = 0;
  sConfigOC.OCPolarity = TIM_OCPOLARITY_HIGH;
  sConfigOC.OCFastMode = TIM_OCFAST_DISABLE;
  if (HAL_TIM_PWM_ConfigChannel(&htim12, &sConfigOC, TIM_CHANNEL_1) != HAL_OK)
  {
    Error_Handler();
  }
  if (HAL_TIM_PWM_ConfigChannel(&htim12, &sConfigOC, TIM_CHANNEL_2) != HAL_OK)
  {
    Error_Handler();
  }
  HAL_TIM_MspPostInit(&htim12);

}

static void MX_TIM13_Init(void)
{

  TIM_OC_InitTypeDef sConfigOC = {0};

  htim13.Instance = TIM13;
  htim13.Init.Prescaler = 179;
  htim13.Init.CounterMode = TIM_COUNTERMODE_UP;
  htim13.Init.Period = 999;
  htim13.Init.ClockDivision = TIM_CLOCKDIVISION_DIV1;
  htim13.Init.AutoReloadPreload = TIM_AUTORELOAD_PRELOAD_DISABLE;
  if (HAL_TIM_Base_Init(&htim13) != HAL_OK)
  {
    Error_Handler();
  }
  if (HAL_TIM_PWM_Init(&htim13) != HAL_OK)
  {
    Error_Handler();
  }
  sConfigOC.OCMode = TIM_OCMODE_PWM1;
  sConfigOC.Pulse = 0;
  sConfigOC.OCPolarity = TIM_OCPOLARITY_HIGH;
  sConfigOC.OCFastMode = TIM_OCFAST_DISABLE;
  if (HAL_TIM_PWM_ConfigChannel(&htim13, &sConfigOC, TIM_CHANNEL_1) != HAL_OK)
  {
    Error_Handler();
  }
  HAL_TIM_MspPostInit(&htim13);

}

static void MX_TIM14_Init(void)
{

  TIM_OC_InitTypeDef sConfigOC = {0};

  htim14.Instance = TIM14;
  htim14.Init.Prescaler = 0;
  htim14.Init.CounterMode = TIM_COUNTERMODE_UP;
  htim14.Init.Period = 65535;
  htim14.Init.ClockDivision = TIM_CLOCKDIVISION_DIV1;
  htim14.Init.AutoReloadPreload = TIM_AUTORELOAD_PRELOAD_DISABLE;
  if (HAL_TIM_Base_Init(&htim14) != HAL_OK)
  {
    Error_Handler();
  }
  if (HAL_TIM_OC_Init(&htim14) != HAL_OK)
  {
    Error_Handler();
  }
  sConfigOC.OCMode = TIM_OCMODE_TIMING;
  sConfigOC.Pulse = 0;
  sConfigOC.OCPolarity = TIM_OCPOLARITY_HIGH;
  sConfigOC.OCFastMode = TIM_OCFAST_DISABLE;
  if (HAL_TIM_OC_ConfigChannel(&htim14, &sConfigOC, TIM_CHANNEL_1) != HAL_OK)
  {
    Error_Handler();
  }
  HAL_TIM_MspPostInit(&htim14);

}

static void MX_UART4_Init(void)
{

  huart4.Instance = UART4;
  huart4.Init.BaudRate = 115200;
  huart4.Init.WordLength = UART_WORDLENGTH_8B;
  huart4.Init.StopBits = UART_STOPBITS_1;
  huart4.Init.Parity = UART_PARITY_NONE;
  huart4.Init.Mode = UART_MODE_TX_RX;
  huart4.Init.HwFlowCtl = UART_HWCONTROL_NONE;
  huart4.Init.OverSampling = UART_OVERSAMPLING_16;
  if (HAL_UART_Init(&huart4) != HAL_OK)
  {
    Error_Handler();
  }

}

static void MX_USART2_UART_Init(void)
{

  huart2.Instance = USART2;
  huart2.Init.BaudRate = 115200;
  huart2.Init.WordLength = UART_WORDLENGTH_8B;
  huart2.Init.StopBits = UART_STOPBITS_1;
  huart2.Init.Parity = UART_PARITY_NONE;
  huart2.Init.Mode = UART_MODE_TX_RX;
  huart2.Init.HwFlowCtl = UART_HWCONTROL_NONE;
  huart2.Init.OverSampling = UART_OVERSAMPLING_16;
  if (HAL_UART_Init(&huart2) != HAL_OK)
  {
    Error_Handler();
  }

}

static void MX_DMA_Init(void)
{

  /* DMA controller clock enable */
  __HAL_RCC_DMA1_CLK_ENABLE();

  /* DMA interrupt init */
  /* DMA1_Stream2_IRQn interrupt configuration */
  HAL_NVIC_SetPriority(DMA1_Stream2_IRQn, 0, 0);
  HAL_NVIC_EnableIRQ(DMA1_Stream2_IRQn);

}

static void MX_GPIO_Init(void)
{
  GPIO_InitTypeDef GPIO_InitStruct = {0};

  /* GPIO Ports Clock Enable */
  __HAL_RCC_GPIOC_CLK_ENABLE();
  __HAL_RCC_GPIOH_CLK_ENABLE();
  __HAL_RCC_GPIOA_CLK_ENABLE();
  __HAL_RCC_GPIOB_CLK_ENABLE();

  /*Configure GPIO pin Output Level */
  HAL_GPIO_WritePin(GPIOC, GPIO_PIN_15|M1_Pin|M2_Pin|M3_Pin
                          |stepper_direction_1_Pin|ENA_1_Pin|stepper_pulse_1_Pin, GPIO_PIN_RESET);

  /*Configure GPIO pin Output Level */
  HAL_GPIO_WritePin(GPIOA, LD2_Pin|P1_Pin|P2_Pin, GPIO_PIN_RESET);

  /*Configure GPIO pin Output Level */
  HAL_GPIO_WritePin(GPIOB, GPIO_PIN_2|GPIO_PIN_10|P3_Pin|GPIO_PIN_13, GPIO_PIN_RESET);

  /*Configure GPIO pin : B1_Pin */
  GPIO_InitStruct.Pin = B1_Pin;
  GPIO_InitStruct.Mode = GPIO_MODE_IT_FALLING;
  GPIO_InitStruct.Pull = GPIO_NOPULL;
  HAL_GPIO_Init(B1_GPIO_Port, &GPIO_InitStruct);

  /*Configure GPIO pins : PC15 M1_Pin M2_Pin M3_Pin
                           stepper_direction_1_Pin ENA_1_Pin stepper_pulse_1_Pin */
  GPIO_InitStruct.Pin = GPIO_PIN_15|M1_Pin|M2_Pin|M3_Pin
                          |stepper_direction_1_Pin|ENA_1_Pin|stepper_pulse_1_Pin;
  GPIO_InitStruct.Mode = GPIO_MODE_OUTPUT_PP;
  GPIO_InitStruct.Pull = GPIO_NOPULL;
  GPIO_InitStruct.Speed = GPIO_SPEED_FREQ_LOW;
  HAL_GPIO_Init(GPIOC, &GPIO_InitStruct);

  /*Configure GPIO pins : LD2_Pin P1_Pin P2_Pin */
  GPIO_InitStruct.Pin = LD2_Pin|P1_Pin|P2_Pin;
  GPIO_InitStruct.Mode = GPIO_MODE_OUTPUT_PP;
  GPIO_InitStruct.Pull = GPIO_NOPULL;
  GPIO_InitStruct.Speed = GPIO_SPEED_FREQ_LOW;
  HAL_GPIO_Init(GPIOA, &GPIO_InitStruct);

  /*Configure GPIO pins : PB2 PB10 P3_Pin PB13 */
  GPIO_InitStruct.Pin = GPIO_PIN_2|GPIO_PIN_10|P3_Pin|GPIO_PIN_13;
  GPIO_InitStruct.Mode = GPIO_MODE_OUTPUT_PP;
  GPIO_InitStruct.Pull = GPIO_NOPULL;
  GPIO_InitStruct.Speed = GPIO_SPEED_FREQ_LOW;
  HAL_GPIO_Init(GPIOB, &GPIO_InitStruct);

}

/* USER CODE BEGIN 4 */
int _write(int file, char *ptr, int len) {
	HAL_UART_Transmit(&huart2, (uint8_t*) ptr, len, HAL_MAX_DELAY);
	return len;
}
/* USER CODE END 4 */

void Error_Handler(void)
{
	__disable_irq();
	while (1) {
	}
}
